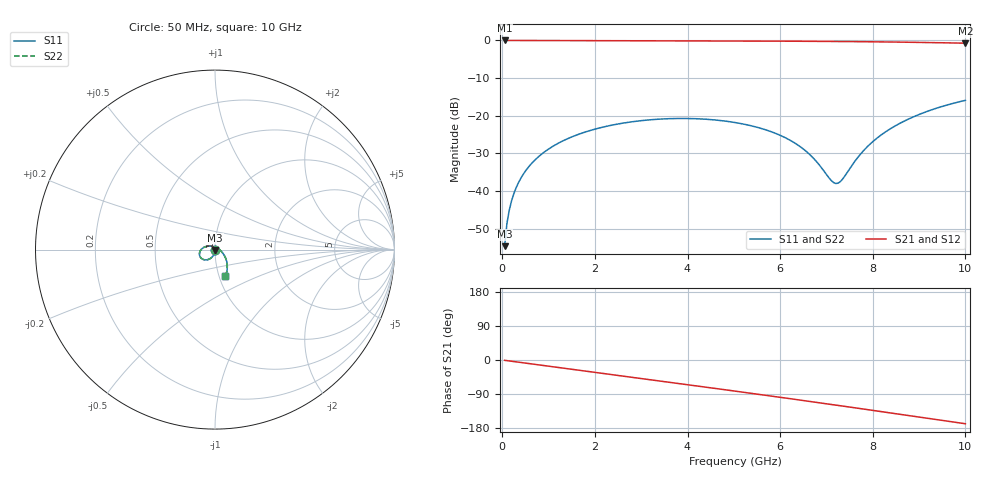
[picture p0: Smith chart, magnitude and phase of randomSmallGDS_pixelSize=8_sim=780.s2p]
! freq	dB(S11)	phase(S11)	dB(S12)	phase(S12)
!  dB(S21)	phase(S21)	dB(S22)	phase(S22)
!S-par simulation data
#  GHz  S  DB  R 50
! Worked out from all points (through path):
!   200 points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, 50 MHz to 10 GHz, reference 50 ohm
!   highest |S21| = 0.00 dB at 50 MHz (marker M1); lowest = -0.7 dB at 10 GHz (marker M2)
!   group delay of S21, straight-line fit = 46.6 ps
!   lowest |S11| = -54.7 dB at 50 MHz (marker M3), VSWR 1.00, Z = 50 - j0.185 ohm
!   |S11| at or under -10 dB: start of sweep to end of sweep
!   |S22| runs from -54.7 to -15.9 dB; largest |S21 - S12| = 0
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0.05  -54.66 -90.2  -0.00 -0.8  -0.00 -0.8  -54.66 -90.2
0.1  -48.64 -91.4  -0.00 -1.7  -0.00 -1.7  -48.64 -91.4
0.15  -45.12 -92.4  -0.01 -2.5  -0.01 -2.5  -45.12 -92.4
0.2  -42.62 -93.4  -0.01 -3.3  -0.01 -3.3  -42.62 -93.4
0.35  -37.77 -96.1  -0.01 -5.7  -0.01 -5.7  -37.77 -96.1
0.5  -34.70 -98.7  -0.01 -8.2  -0.01 -8.2  -34.70 -98.7
0.7  -31.83 -102.1  -0.02 -11.5  -0.02 -11.5  -31.83 -102.1
1  -28.85 -107.2  -0.02 -16.3  -0.02 -16.3  -28.85 -107.2
1.75  -24.49 -119.8  -0.05 -28.5  -0.05 -28.5  -24.49 -119.8
2.5  -22.19 -132.3  -0.07 -40.7  -0.07 -40.7  -22.19 -132.3
3.4  -20.90 -147.4  -0.10 -55.3  -0.10 -55.3  -20.90 -147.4
4.25  -20.83 -162.1  -0.13 -69.3  -0.13 -69.3  -20.83 -162.1
5.05  -21.86 -176.9  -0.15 -82.5  -0.15 -82.5  -21.86 -176.8
6  -25.20 162.6  -0.19 -98.4  -0.19 -98.4  -25.21 162.7
6.4  -27.93 150.7  -0.21 -105.2  -0.21 -105.2  -27.94 150.9
6.7  -31.05 137.1  -0.23 -110.3  -0.23 -110.3  -31.07 137.4
7.1  -37.18 91.7  -0.26 -117.2  -0.26 -117.2  -37.27 92.1
7.25  -37.93 55.8  -0.27 -119.8  -0.27 -119.8  -38.05 55.7
7.85  -28.64 -16.4  -0.34 -130.3  -0.34 -130.3  -28.66 -16.7
8.35  -23.69 -33.9  -0.40 -139.1  -0.40 -139.1  -23.70 -34.1
9.1  -19.19 -51.5  -0.53 -152.3  -0.53 -152.3  -19.19 -51.7
10  -15.91 -69.2  -0.73 -168.2  -0.73 -168.2  -15.91 -69.3
